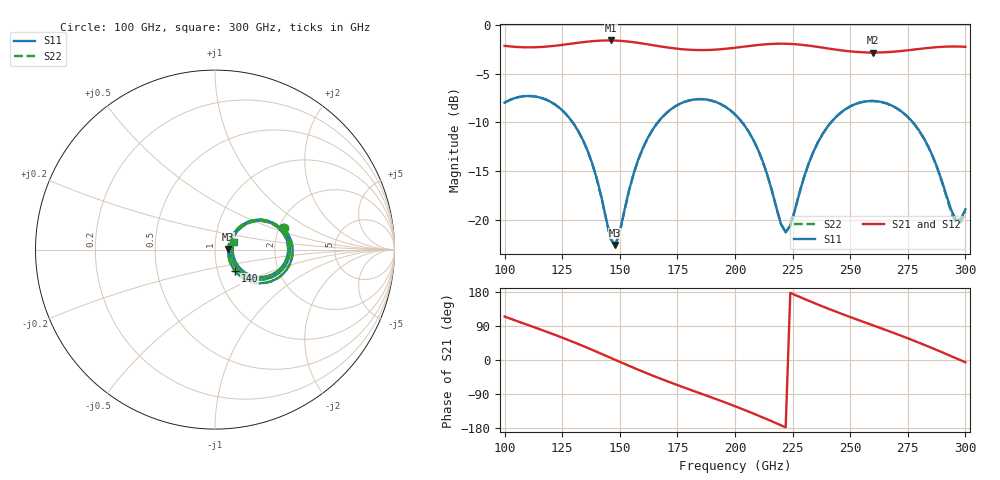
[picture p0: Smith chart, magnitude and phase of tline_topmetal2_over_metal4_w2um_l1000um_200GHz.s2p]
#  GHZ S DB R 50
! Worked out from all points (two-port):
!   101 points, 100 GHz to 300 GHz, reference 50 ohm
!   highest |S21| = -1.56 dB at 146 GHz (marker M1); lowest = -2.8 dB at 260 GHz (marker M2)
!   |S21| within 3 dB of the highest: start of sweep to end of sweep
!   lowest |S11| = -22.6 dB at 148 GHz (marker M3), VSWR 1.16, Z = 58 + j0.422 ohm
!   |S11| at or under -10 dB: 129.5 GHz to 166.5 GHz (36.96 GHz wide, 25 % of centre); 203.1 GHz to 241.7 GHz (38.56 GHz wide, 17.3 % of centre); 277.2 GHz to end of sweep
!   |S22| runs from -22.7 to -7.3 dB; largest |S21 - S12| = 8.7e-14
!   S11 on the Smith chart (normalised r, x): 100 GHz: 2.12, +0.60; 140 GHz: 1.21, -0.29; 300 GHz: 1.23, +0.11
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100  -7.96 17.3  -2.12 114.6  -2.12 114.6  -7.96 17.2
110  -7.28 -1.0  -2.27 92.7  -2.27 92.7  -7.28 -1.1
118  -7.65 -15.6  -2.20 75.0  -2.20 75.0  -7.65 -15.8
126  -8.98 -30.1  -1.99 56.7  -1.99 56.7  -8.98 -30.3
134  -11.81 -42.9  -1.74 37.1  -1.74 37.1  -11.82 -43.2
140  -15.77 -46.7  -1.60 21.6  -1.60 21.6  -15.79 -47.1
146  -21.92 -21.2  -1.56 5.7  -1.56 5.7  -22.02 -21.7
148  -22.61 2.8  -1.58 0.4  -1.58 0.4  -22.73 2.7
158  -13.83 42.4  -1.81 -25.6  -1.81 -25.6  -13.85 42.5
168  -9.56 29.1  -2.19 -50.0  -2.19 -50.0  -9.57 29.1
184  -7.60 1.1  -2.55 -86.0  -2.55 -86.0  -7.60 1.1
200  -9.17 -26.7  -2.31 -122.0  -2.31 -122.0  -9.17 -26.7
210  -12.81 -40.4  -2.03 -146.4  -2.03 -146.4  -12.81 -40.4
222  -21.32 -1.6  -1.90 -177.7  -1.90 -177.7  -21.27 -1.8
234  -13.04 39.6  -2.16 151.3  -2.16 151.3  -13.03 39.2
246  -8.98 23.3  -2.58 122.5  -2.58 122.5  -8.98 23.0
260  -7.79 -0.3  -2.81 91.3  -2.81 91.3  -7.79 -0.8
268  -8.25 -13.8  -2.73 73.4  -2.73 73.4  -8.26 -14.4
278  -10.22 -29.6  -2.49 50.1  -2.49 50.1  -10.24 -30.3
286  -13.57 -37.3  -2.29 30.3  -2.29 30.3  -13.63 -38.4
296  -20.02 -6.8  -2.19 4.4  -2.19 4.4  -20.34 -7.6
300  -18.93 22.4  -2.22 -6.0  -2.22 -6.0  -19.18 22.9
